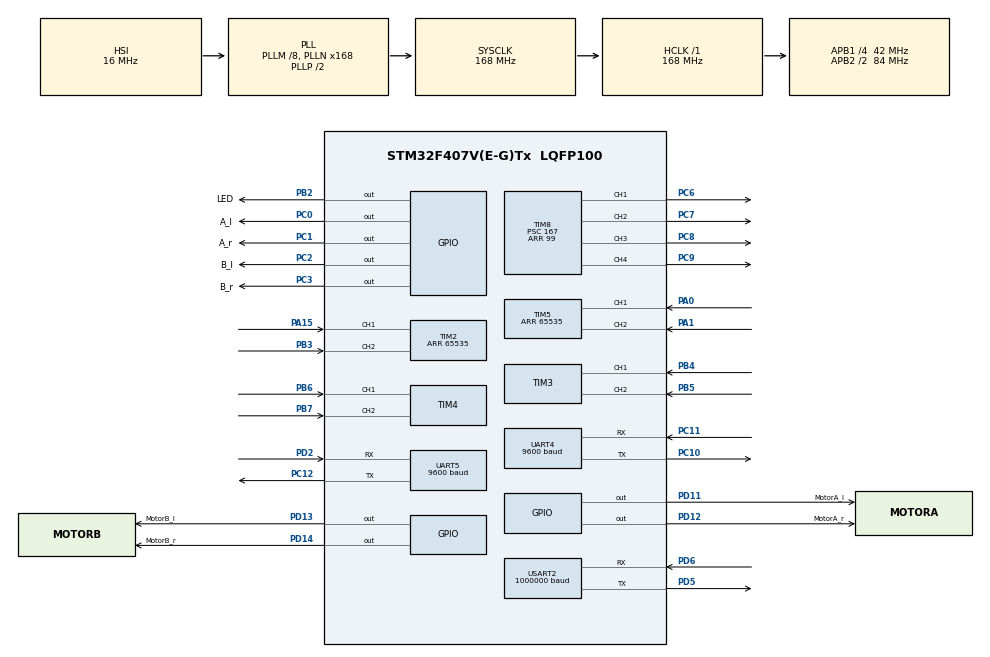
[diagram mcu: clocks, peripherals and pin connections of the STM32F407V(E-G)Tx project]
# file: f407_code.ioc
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Mcu.Family=STM32F4
Mcu.Name=STM32F407V(E-G)Tx
Mcu.Package=LQFP100
NVIC.PriorityGroup=NVIC_PRIORITYGROUP_4
NVIC.TIM7_IRQn=true\:0\:0\:false\:false\:true\:true\:true\:true
NVIC.UART4_IRQn=true\:0\:0\:false\:false\:true\:true\:true\:true
NVIC.UART5_IRQn=true\:0\:0\:false\:false\:true\:true\:true\:true
PA0-WKUP.Signal=S_TIM5_CH1
PA1.Signal=S_TIM5_CH2
PA13.Mode=Serial_Wire
PA13.Signal=SYS_JTMS-SWDIO
PA14.Mode=Serial_Wire
PA14.Signal=SYS_JTCK-SWCLK
PA15.Signal=S_TIM2_CH1_ETR
PB2.GPIO_Label=LED
PB2.Signal=GPIO_Output
PB3.Signal=S_TIM2_CH2
PB4.Signal=S_TIM3_CH1
PB5.Signal=S_TIM3_CH2
PB6.Signal=S_TIM4_CH1
PB7.Signal=S_TIM4_CH2
PC0.GPIO_Label=A_l
PC0.Signal=GPIO_Output
PC1.GPIO_Label=A_r
PC1.Signal=GPIO_Output
PC10.Mode=Asynchronous
PC10.Signal=UART4_TX
PC11.Mode=Asynchronous
PC11.Signal=UART4_RX
PC12.Mode=Asynchronous
PC12.Signal=UART5_TX
PC14-OSC32_IN.Mode=LSE-External-Oscillator
PC14-OSC32_IN.Signal=RCC_OSC32_IN
PC15-OSC32_OUT.Mode=LSE-External-Oscillator
PC15-OSC32_OUT.Signal=RCC_OSC32_OUT
PC2.GPIO_Label=B_l
PC2.Signal=GPIO_Output
PC3.GPIO_Label=B_r
PC3.Signal=GPIO_Output
PC6.Signal=S_TIM8_CH1
PC7.Signal=S_TIM8_CH2
PC8.Signal=S_TIM8_CH3
PC9.Signal=S_TIM8_CH4
PD11.GPIO_Label=MotorA_l
PD11.Signal=GPIO_Output
PD12.GPIO_Label=MotorA_r
PD12.Signal=GPIO_Output
PD13.GPIO_Label=MotorB_l
PD13.Signal=GPIO_Output
PD14.GPIO_Label=MotorB_r
PD14.Signal=GPIO_Output
PD2.Mode=Asynchronous
PD2.Signal=UART5_RX
PD5.Mode=Asynchronous
PD5.Signal=USART2_TX
PD6.Mode=Asynchronous
PD6.Signal=USART2_RX
PH0-OSC_IN.Mode=HSE-External-Oscillator
PH0-OSC_IN.Signal=RCC_OSC_IN
PH1-OSC_OUT.Mode=HSE-External-Oscillator
PH1-OSC_OUT.Signal=RCC_OSC_OUT
ProjectManager.HeapSize=0x200
ProjectManager.StackSize=0x400
ProjectManager.TargetToolchain=MDK-ARM V5.32
RCC.48MHZClocksFreq_Value=84000000
RCC.AHBFreq_Value=168000000
RCC.APB1CLKDivider=RCC_HCLK_DIV4
RCC.APB1Freq_Value=42000000
RCC.APB1TimFreq_Value=84000000
RCC.APB2CLKDivider=RCC_HCLK_DIV2
RCC.APB2Freq_Value=84000000
RCC.APB2TimFreq_Value=168000000
RCC.CortexFreq_Value=168000000
RCC.HCLKFreq_Value=168000000
RCC.HSE_VALUE=25000000
RCC.HSI_VALUE=16000000
RCC.PLLM=8
RCC.PLLN=168
RCC.SYSCLKFreq_VALUE=168000000
RCC.SYSCLKSource=RCC_SYSCLKSOURCE_PLLCLK
RCC.VCOOutputFreq_Value=336000000
SH.S_TIM2_CH1_ETR.0=TIM2_CH1,Encoder_Interface
SH.S_TIM2_CH2.0=TIM2_CH2,Encoder_Interface
SH.S_TIM3_CH1.0=TIM3_CH1,Encoder_Interface
SH.S_TIM3_CH2.0=TIM3_CH2,Encoder_Interface
SH.S_TIM4_CH1.0=TIM4_CH1,Encoder_Interface
SH.S_TIM4_CH2.0=TIM4_CH2,Encoder_Interface
SH.S_TIM5_CH1.0=TIM5_CH1,Encoder_Interface
SH.S_TIM5_CH2.0=TIM5_CH2,Encoder_Interface
SH.S_TIM8_CH1.0=TIM8_CH1,PWM Generation1 CH1
SH.S_TIM8_CH2.0=TIM8_CH2,PWM Generation2 CH2
SH.S_TIM8_CH3.0=TIM8_CH3,PWM Generation3 CH3
SH.S_TIM8_CH4.0=TIM8_CH4,PWM Generation4 CH4
TIM2.AutoReloadPreload=TIM_AUTORELOAD_PRELOAD_ENABLE
TIM2.EncoderMode=TIM_ENCODERMODE_TI12
TIM2.IC1Filter=10
TIM2.IC2Filter=10
TIM2.Period=65535
TIM3.AutoReloadPreload=TIM_AUTORELOAD_PRELOAD_ENABLE
TIM3.EncoderMode=TIM_ENCODERMODE_TI12
TIM3.IC1Filter=10
TIM3.IC2Filter=10
TIM4.AutoReloadPreload=TIM_AUTORELOAD_PRELOAD_ENABLE
TIM4.EncoderMode=TIM_ENCODERMODE_TI12
TIM4.IC1Filter=10
TIM4.IC2Filter=10
TIM5.AutoReloadPreload=TIM_AUTORELOAD_PRELOAD_ENABLE
TIM5.EncoderMode=TIM_ENCODERMODE_TI12
TIM5.IC1Filter=10
TIM5.IC2Filter=10
TIM5.Period=65535
TIM7.Period=9999
TIM7.Prescaler=1679
TIM8.AutoReloadPreload=TIM_AUTORELOAD_PRELOAD_ENABLE
TIM8.Channel-PWM\ Generation1\ CH1=TIM_CHANNEL_1
TIM8.Channel-PWM\ Generation2\ CH2=TIM_CHANNEL_2
TIM8.Channel-PWM\ Generation3\ CH3=TIM_CHANNEL_3
TIM8.Channel-PWM\ Generation4\ CH4=TIM_CHANNEL_4
TIM8.OCPolarity_1=TIM_OCPOLARITY_LOW
TIM8.OCPolarity_2=TIM_OCPOLARITY_LOW
TIM8.OCPolarity_3=TIM_OCPOLARITY_LOW
TIM8.OCPolarity_4=TIM_OCPOLARITY_LOW
TIM8.Period=99
TIM8.Prescaler=167
UART4.BaudRate=9600
UART4.VirtualMode=Asynchronous
UART5.BaudRate=9600
UART5.VirtualMode=Asynchronous
USART2.BaudRate=1000000
USART2.VirtualMode=VM_ASYNC
VP_TIM7_VS_ClockSourceINT.Mode=Enable_Timer
board=custom

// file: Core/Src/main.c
/* USER CODE BEGIN Header */
/**
  ******************************************************************************
  * @file           : main.c
  * @brief          : Main program body
  ******************************************************************************
  * @attention
  *
  * Copyright (c) 2025 STMicroelectronics.
  * All rights reserved.
  *
  * This software is licensed under terms that can be found in the LICENSE file
  * in the root directory of this software component.
  * If no LICENSE file comes with this software, it is provided AS-IS.
  *
  ******************************************************************************
  */
/* USER CODE END Header */
#include "main.h"
#include "tim.h"
#include "usart.h"
#include "gpio.h"

/* USER CODE BEGIN Includes */
#include <stdio.h>  // 用于 sprintf 函数
#include <string.h> // 用于 strlen 函数
#include <../../SCSLib/SCServo.h>
/* USER CODE END Includes */

/* USER CODE BEGIN PM */
//FT舵机串口指令发送函数
void ftUart_Send(uint8_t *nDat , int nLen)
{
	HAL_UART_Transmit(&huart2, nDat, nLen, 100);
}

//FT舵机串口指令应答接收函数
int ftUart_Read(uint8_t *nDat, int nLen)
{
	if(HAL_OK!=HAL_UART_Receive(&huart2, nDat, nLen, 100)){
		return 0;
	}else{
		return nLen;
	}
}

//FT舵机总线切换延时，时间大于10us
void ftBus_Delay(void)
{
	HAL_Delay(1);
}
void setup(void)
{
	setEnd(1);//SCSCL舵机为大端存储结构
}
void ServoInit(uint8_t ID)
{
    // 解锁EPROM
    unLockEpromEx(ID);

    // 设置位置模式
    WheelMode(ID);

    // 校准零位
    CalibrationOfs(ID);

    // 锁定EPROM
    LockEpromEx(ID);
}
//所有总线舵机初始化，目前测试出来舵机中值是510，3的话是630,2的话310
uint8_t servo_flag=0; //为什么加这个flag主要是用来初始化舵机的
uint16_t leg1_all_duty=0; //ID，1,4,7,10的duty值
uint16_t leg1_left_duty=0; //ID，1,4的duty值
uint16_t leg1_right_duty=0; //ID，7,10的duty值
uint16_t leg2_all_duty=0; //ID，2,5,8,11的duty值
uint16_t leg2_left_duty=0; //ID，2,5的duty值
uint16_t leg2_right_duty=0; //ID，8,11的duty值
uint16_t leg3_all_duty=0; //ID，3,6,9,12的duty值
uint16_t leg3_left_duty=0; //ID，3,6的duty值
uint16_t leg3_right_duty=0; //ID，9,12的duty值
void servo_all_init(void)
{
	ServoInit(1);
	ServoInit(2);
	ServoInit(3);
	ServoInit(4);
	ServoInit(5);
	ServoInit(6);
	ServoInit(7);
	ServoInit(8);
	ServoInit(9);
	ServoInit(10);
	ServoInit(11);
	ServoInit(12);
	setup();
}
//主要是用来初始化角度的,初始化一个初始角度也可以是当成初始化的角度
void servo_angle_init(void)
{
	WritePos(1, 450, 0, 1500); //对ID是2的舵机进行一个初始化
	WritePos(2, 260, 0, 1500); //对ID是2的舵机进行一个初始化
	WritePos(3, 665, 0, 1500); //对ID是3的舵机进行一个初始化
	WritePos(4, 540, 0, 1500); //对ID是3的舵机进行一个初始化
	WritePos(5, 750, 0, 1500); //对ID是5的舵机进行一个初始化
	WritePos(6, 370, 0, 1500); //对ID是6的舵机进行一个初始化
	WritePos(7, 540, 0, 1500); //对ID是6的舵机进行一个初始化
	WritePos(8, 250, 0, 1500); //对ID是8的舵机进行一个初始化
	WritePos(9, 645, 0, 1500); //对ID是9的舵机进行一个初始化
	WritePos(10, 480, 0, 1500); //对ID是9的舵机进行一个初始化
	WritePos(11, 770, 0, 1500); //对ID是11的舵机进行一个初始化
	WritePos(12, 400, 0, 1500); //对ID是12的舵机进行一个初始化
	HAL_Delay(250);
}
void servo_angle_curve(void)
{
	WritePos(3, 765, 0, 1500); //对ID是3的舵机进行一个弯曲
	WritePos(6, 270, 0, 1500); //对ID是6的舵机进行一个弯曲
	WritePos(9, 745, 0, 1500); //对ID是9的舵机进行一个弯曲
	WritePos(12, 300, 0, 1500); //对ID是12的舵机进行一个弯曲
	HAL_Delay(200);
}
//对ID1,4,7,10同步控制
void leg1_all(uint16_t duty)
{
	WritePos(1, duty, 0, 1500); //对ID是2的舵机进行一个弯曲
	WritePos(4, duty, 0, 1500); //对ID是3的舵机进行一个弯曲
	WritePos(7, duty, 0, 1500); //对ID是5的舵机进行一个弯曲
	WritePos(10,duty, 0, 1500); //对ID是6的舵机进行一个弯曲
}
//对ID1,4同步控制
void leg1_left(uint16_t duty)
{
	WritePos(1, duty, 0, 1500); //对ID是2的舵机进行一个弯曲
	WritePos(4, duty, 0, 1500); //对ID是3的舵机进行一个弯曲
}
//对ID7,10同步控制
void leg1_right(uint16_t duty)
{
	WritePos(7, duty, 0, 1500); //对ID是2的舵机进行一个弯曲
	WritePos(10, duty, 0, 1500); //对ID是3的舵机进行一个弯曲
}
//对ID2,5,8,11同步控制
void leg2_all(uint16_t duty)
{
	WritePos(2, duty, 0, 1500); //对ID是2的舵机进行一个弯曲
	WritePos(5, duty, 0, 1500); //对ID是3的舵机进行一个弯曲
	WritePos(8, duty, 0, 1500); //对ID是5的舵机进行一个弯曲
	WritePos(11, duty, 0, 1500); //对ID是6的舵机进行一个弯曲
}
//对ID2,5同步控制
void leg2_left(uint16_t duty)
{
	WritePos(2, duty, 0, 1500); //对ID是2的舵机进行一个弯曲
	WritePos(5, duty, 0, 1500); //对ID是3的舵机进行一个弯曲
}
//对ID8,11同步控制
void leg2_right(uint16_t duty)
{
	WritePos(8, duty, 0, 1500); //对ID是2的舵机进行一个弯曲
	WritePos(11, duty, 0, 1500); //对ID是3的舵机进行一个弯曲
}
//对ID3,6,9,12同步控制
void leg3_all(uint16_t duty)
{
	WritePos(3, duty, 0, 1500); //对ID是2的舵机进行一个弯曲
	WritePos(6, duty, 0, 1500); //对ID是3的舵机进行一个弯曲
	WritePos(9, duty, 0, 1500); //对ID是5的舵机进行一个弯曲
	WritePos(12, duty, 0, 1500); //对ID是6的舵机进行一个弯曲
}
//对ID3,6同步控制
void leg3_left(uint16_t duty)
{
	WritePos(3, duty, 0, 1500); //对ID是2的舵机进行一个弯曲
	WritePos(6, duty, 0, 1500); //对ID是3的舵机进行一个弯曲
}
//对ID9,12同步控制
void leg3_right(uint16_t duty)
{
	WritePos(9, duty, 0, 1500); //对ID是2的舵机进行一个弯曲
	WritePos(12, duty, 0, 1500); //对ID是3的舵机进行一个弯曲
}
//电机方向引脚初始化
void motor_init(void)
{
	  //左前轮
		HAL_GPIO_WritePin(GPIOD,MotorA_l_Pin, GPIO_PIN_SET);
		HAL_GPIO_WritePin(GPIOC,A_l_Pin, GPIO_PIN_RESET);
	  //右前轮
		HAL_GPIO_WritePin(GPIOD,MotorA_r_Pin, GPIO_PIN_SET);
		HAL_GPIO_WritePin(GPIOC,A_r_Pin, GPIO_PIN_RESET);
//		//左后轮
//		HAL_GPIO_WritePin(GPIOD,MotorB_l_Pin, GPIO_PIN_SET);
//		HAL_GPIO_WritePin(GPIOC,B_l_Pin, GPIO_PIN_RESET);
//	  //右后轮
//		HAL_GPIO_WritePin(GPIOD,MotorB_r_Pin, GPIO_PIN_SET);
//		HAL_GPIO_WritePin(GPIOC,B_r_Pin, GPIO_PIN_RESET);
}
//电机pwm设置
void motorA_ld(int16_t duty)
{
		//左前轮
		__HAL_TIM_SET_COMPARE(&htim8,TIM_CHANNEL_1,duty);
}
void motorA_rd(int16_t duty)
{
		//右前轮
		__HAL_TIM_SET_COMPARE(&htim8,TIM_CHANNEL_2,duty);
}
void motorB_ld(int16_t duty)
{
		//左后轮
		__HAL_TIM_SET_COMPARE(&htim8,TIM_CHANNEL_4,duty);
}
void motorB_rd(int16_t duty)
{
		//右后轮
		__HAL_TIM_SET_COMPARE(&htim8,TIM_CHANNEL_3,duty);
}
//电机的正反转设置
void motorA_lt(void)
{
		//左前轮
		HAL_GPIO_WritePin(GPIOD,MotorA_l_Pin, GPIO_PIN_RESET);
		HAL_GPIO_WritePin(GPIOC,A_l_Pin, GPIO_PIN_SET);
}
void motorA_rt(void)
{
		//右前轮
		HAL_GPIO_WritePin(GPIOD,MotorA_r_Pin, GPIO_PIN_SET);
		HAL_GPIO_WritePin(GPIOC,A_r_Pin, GPIO_PIN_SET);
}
//
void motorB_lt(void)
{
		//右后轮
		HAL_GPIO_WritePin(GPIOD,MotorB_r_Pin, GPIO_PIN_RESET);
		HAL_GPIO_WritePin(GPIOC,B_r_Pin, GPIO_PIN_SET);
}
//
void motorB_rt(void)
{
		//左后轮
		HAL_GPIO_WritePin(GPIOD,MotorB_l_Pin, GPIO_PIN_SET);
		HAL_GPIO_WritePin(GPIOC,B_l_Pin, GPIO_PIN_SET);
}
void motorA_lf(void)
{
		//左前轮
		HAL_GPIO_WritePin(GPIOD,MotorA_l_Pin, GPIO_PIN_SET);
		HAL_GPIO_WritePin(GPIOC,A_l_Pin, GPIO_PIN_SET);
}
void motorA_rf(void)
{
		//右前轮
		HAL_GPIO_WritePin(GPIOD,MotorA_r_Pin, GPIO_PIN_RESET);
		HAL_GPIO_WritePin(GPIOC,A_r_Pin, GPIO_PIN_SET);
}
//
void motorB_lf(void)
{
		//右后轮
		HAL_GPIO_WritePin(GPIOD,MotorB_r_Pin, GPIO_PIN_SET);
		HAL_GPIO_WritePin(GPIOC,B_r_Pin, GPIO_PIN_SET);
}
//
void motorB_rf(void)
{
		//左后轮
		HAL_GPIO_WritePin(GPIOD,MotorB_l_Pin, GPIO_PIN_RESET);
		HAL_GPIO_WritePin(GPIOC,B_l_Pin, GPIO_PIN_SET);
}
//编码器的读取
int8_t A_ls=0;
int8_t A_rs=0;
int8_t B_ls=0;
int8_t B_rs=0;
int8_t A_lmc=0;
int8_t A_rmc=0;
int8_t B_lmc=0;
int8_t B_rmc=0;
int8_t motorA_le(void)
{
	int8_t count=0;
	count=__HAL_TIM_GET_COUNTER(&htim2);
	__HAL_TIM_SET_COUNTER(&htim2, 0);
	return count;
}
int8_t motorA_re(void)
{
	int8_t count=0;
	count=__HAL_TIM_GET_COUNTER(&htim3);
	__HAL_TIM_SET_COUNTER(&htim3, 0);
	return count;
}
int8_t motorB_le(void)
{
	int8_t count=0;
	count=__HAL_TIM_GET_COUNTER(&htim4);
	__HAL_TIM_SET_COUNTER(&htim4, 0);
	return count;
}
int8_t motorB_re(void)
{
	int8_t count=0;
	count=__HAL_TIM_GET_COUNTER(&htim5);
	__HAL_TIM_SET_COUNTER(&htim5, 0);
	return count;
}
//四个电机的PID
int A_l_this_error=0;
int A_l_last_error=0;
int A_l_increase=0;
int A_l_out=0;
int A_l_duty=0;
void motorA_lp(int8_t target,int8_t now)
{
	float kp=0;
	float ki=0;
//	if(A_ls == 0)
//	{
//		kp=120;
//		ki=96;
//	}
//	else
//	{
		kp=48; //96
		ki=36; //72
//	}
	A_l_this_error=target-now;
	A_l_increase=kp*(A_l_this_error-A_l_last_error)+ki*A_l_this_error;
	A_l_last_error=A_l_this_error;
	A_l_out+=A_l_increase;
	A_l_duty=A_l_out/100;
	if(A_l_duty >= 99) A_l_duty=99;
	if(A_l_duty <= -99) A_l_duty=-99;
	if(A_l_duty >= 0)
	{
		motorA_lt();
		motorA_ld(A_l_duty);
	}
	else
	{
		motorA_lf();
		motorA_ld(-A_l_duty);
	}
}
int A_r_this_error=0;
int A_r_last_error=0;
int A_r_increase=0;
int A_r_out=0;
int A_r_duty=0;
void motorA_rp(int8_t target,int8_t now)
{
	float kp=0;
	float ki=0;
//	if(A_ls == 0)
//	{
//		kp=120;
//		ki=96;
//	}
//	else
//	{
		kp=48;
		ki=36;
//	}
	A_r_this_error=target-now;
	A_r_increase=kp*(A_r_this_error-A_r_last_error)+ki*A_r_this_error;
	A_r_last_error=A_r_this_error;
	A_r_out+=A_r_increase;
	A_r_duty=A_r_out/100;
	if(A_r_duty >= 99) A_r_duty=99;
	if(A_r_duty <= -99) A_r_duty=-99;
	if(A_r_duty >= 0)
	{
		motorA_rt();
		motorA_rd(A_r_duty);
	}
	else
	{
		motorA_rf();
		motorA_rd(-A_r_duty);
	}
}
int B_l_this_error=0;
int B_l_last_error=0;
int B_l_increase=0;
int B_l_out=0;
int B_l_duty=0;
void motorB_lp(int8_t target,int8_t now)
{
	float kp=0;
	float ki=0;
//	if(A_ls == 0)
//	{
//		kp=120;
//		ki=96;
//	}
//	else
//	{
		kp=30;
		ki=25;
//	}
	B_l_this_error=target-now;
	B_l_increase=kp*(B_l_this_error-B_l_last_error)+ki*B_l_this_error;
	B_l_last_error=B_l_this_error;
	B_l_out+=B_l_increase;
	B_l_duty=B_l_out/100;
	if(B_l_duty >= 99) B_l_duty=99;
	if(B_l_duty <= -99) B_l_duty=-99;
	if(B_l_duty >= 0)
	{
		motorB_lt();
		motorB_ld(B_l_duty);
	}
	else
	{
		motorB_lf();
		motorB_ld(-B_l_duty);
	}
}
int B_r_this_error=0;
int B_r_last_error=0;
int B_r_increase=0;
int B_r_out=0;
int B_r_duty=0;
void motorB_rp(int8_t target,int8_t now)
{
	float kp=0;
	float ki=0;
//	if(A_ls == 0)
//	{
//		kp=120;
//		ki=96;
//	}
//	else
//	{
		kp=30;
		ki=25;
//	}
	B_r_this_error=target-now;
	B_r_increase=kp*(B_r_this_error-B_r_last_error)+ki*B_r_this_error;
	B_r_last_error=B_r_this_error;
	B_r_out+=B_r_increase;
	B_r_duty=B_r_out/100;
	if(B_r_duty >= 99) B_r_duty=99;
	if(B_r_duty <= -99) B_r_duty=-99;
	if(B_r_duty >= 0)
	{
		motorB_rt();
		motorB_rd(B_r_duty);
	}
	else
	{
		motorB_rf();
		motorB_rd(-B_r_duty);
	}
}
//这边主要是负责蓝牙的，1对应的是49,0对应的是48
uint8_t buletooth_mode_flag=0;
uint8_t buletooth_duty_flag=0;
uint8_t buletooth_ID_flag=0;
uint8_t buletooth_tx=0; //作为发送信息的
uint8_t buletooth_rx=0; //作为接收信息的
uint8_t buletooth_flag=0; //作为发送信息的
uint8_t buletooth_count=0; //作为接收信息的
uint8_t buletooth_leg_count=0; //作为接收信息的
//前进是0，后退是1，左转是2，右转是3，停止是4
//模式切换的是5，模式开启按键是6，腿升高7，腿降低8
//总共需要9个按键
void happy_mode(void)
{
	WritePos(3, 565, 0, 500); //对ID是2的舵机进行一个弯曲
	WritePos(6, 470, 0, 500); //对ID是3的舵机进行一个弯曲
	WritePos(9, 545, 0, 500); //对ID是5的舵机进行一个弯曲
	WritePos(12, 500, 0, 500); //对ID是6的舵机进行一个弯曲
	HAL_Delay(300);
	WritePos(3, 765, 0, 500); //对ID是2的舵机进行一个弯曲
	WritePos(6, 270, 0, 500); //对ID是3的舵机进行一个弯曲
	WritePos(9, 745, 0, 500); //对ID是5的舵机进行一个弯曲
	WritePos(12, 300, 0, 500); //对ID是6的舵机进行一个弯曲
	HAL_Delay(500);
}
void bluetooth_ct(void)
{
	if(buletooth_rx == 106)
	{
		buletooth_rx=0;
	}
	//首先这边需要包含一个简单的对狗的控制，主要包括前进，左转，右转，停止以及后退，左右转目前的思路是一个原地打转，转到合适的角度然后进行转弯（这里需要五个按键）
	//前进
	if(buletooth_rx == 48)
	{
		A_ls=5;
		A_rs=5;
		B_ls=-5;
//		B_rs=2;
		buletooth_rx=0;
	}
	//后退
	if(buletooth_rx == 49)
	{
		A_ls=-5;
		A_rs=-5;
		B_ls=-5;
//		B_rs=-2;
		buletooth_rx=0;
	}
	//左转
	if(buletooth_rx == 50)
	{
		A_ls=-10;
		A_rs=15;
		B_ls=10;
//		B_rs=2;
		buletooth_rx=0;
	}
	//右转
	if(buletooth_rx == 51)
	{
		A_ls=15;
		A_rs=-10;
		B_ls=-15;
//		B_rs=-2;
		buletooth_rx=0;
	}
	//停止
	if(buletooth_rx == 52)
	{
		A_ls=0;
		A_rs=0;
		B_ls=0;
//		B_rs=0;
		buletooth_rx=0;
	}
	//接着就是一个模式选择（这里需要一个按键，娱乐模式（主要是包含上蹦下跳）和救援模式）
	//模式选择
	if(buletooth_rx == 53)
	{
		buletooth_count+=1;
		if(buletooth_count > 2) buletooth_count=0;
		//需要人为清零一下
		HAL_UART_Transmit_IT(&huart4, &buletooth_count, sizeof(buletooth_count));
//		HAL_UART_Transmit(&huart1, &buletooth_count, sizeof(buletooth_count), HAL_MAX_DELAY);
		buletooth_rx=0;
	}
	//娱乐模式的时候就加入一个按键，开启娱乐和关闭娱乐，就用同一个按键（这个按键和下面的选择共用）
	if(buletooth_rx == 54)
	{
		//娱乐模式开启
		if(buletooth_rx == 54 && buletooth_count == 1 && buletooth_flag ==0)
		{
			buletooth_flag=1;
			buletooth_rx=0;
//			HAL_UART_Transmit(&huart1, &buletooth_flag, sizeof(buletooth_flag), HAL_MAX_DELAY);
		}
		//娱乐模式关闭
		if(buletooth_rx == 54 && buletooth_count == 1 && buletooth_flag ==1)
		{
			buletooth_flag=0;
			buletooth_rx=0;
//			HAL_UART_Transmit(&huart1, &buletooth_flag, sizeof(buletooth_flag), HAL_MAX_DELAY);
		}
		//救援模式
		if(buletooth_rx == 54 && buletooth_count == 2)
		{
			buletooth_leg_count+=1;
			if(buletooth_leg_count > 3) buletooth_leg_count=0;
			HAL_UART_Transmit(&huart4, &buletooth_leg_count, sizeof(buletooth_leg_count), HAL_MAX_DELAY);
			buletooth_rx=0;
		}
	}
	//升高
	if(buletooth_rx == 55)
	{
		//左边
		if(buletooth_rx == 55 && buletooth_leg_count == 1)
		{
			leg3_left_duty-=50;
			WritePos(3, 665+leg3_left_duty, 0, 1500); //对ID是2的舵机进行一个弯曲
			WritePos(12, 400-leg3_left_duty, 0, 1500); //对ID是6的舵机进行一个弯曲
			HAL_Delay(200);
			buletooth_rx=0;
		}
		//右边
		if(buletooth_rx == 55 && buletooth_leg_count == 2)
		{
			leg3_right_duty-=50;
			WritePos(6, 370-leg3_right_duty, 0, 1500); //对ID是3的舵机进行一个弯曲
			WritePos(9, 645+leg3_right_duty, 0, 1500); //对ID是5的舵机进行一个弯曲
			HAL_Delay(200);
			buletooth_rx=0;
		}
		//全部
		if(buletooth_rx == 55 && buletooth_leg_count == 3)
		{
			leg3_all_duty-=50;
			WritePos(3, 665+leg3_all_duty, 0, 1500); //对ID是2的舵机进行一个弯曲
			WritePos(6, 370-leg3_all_duty, 0, 1500); //对ID是3的舵机进行一个弯曲
			WritePos(9, 645+leg3_all_duty, 0, 1500); //对ID是5的舵机进行一个弯曲
			WritePos(12, 400-leg3_all_duty, 0, 1500); //对ID是6的舵机进行一个弯曲
			HAL_Delay(200);
			buletooth_rx=0;
		}
	}
	//降低
	if(buletooth_rx == 56)
	{
		//左边
		if(buletooth_rx == 56 && buletooth_leg_count == 1)
		{
			leg3_left_duty+=50;
			WritePos(3, 665+leg3_left_duty, 0, 1500); //对ID是2的舵机进行一个弯曲
			WritePos(12, 400-leg3_left_duty, 0, 1500); //对ID是6的舵机进行一个弯曲
			HAL_Delay(200);
			buletooth_rx=0;
		}
		//右边
		if(buletooth_rx == 56 && buletooth_leg_count == 2)
		{
			leg3_right_duty+=50;
			WritePos(6, 370-leg3_right_duty, 0, 1500); //对ID是3的舵机进行一个弯曲
			WritePos(9, 645+leg3_right_duty, 0, 1500); //对ID是5的舵机进行一个弯曲
			HAL_Delay(200);
			buletooth_rx=0;
		}
		//全部
		if(buletooth_rx == 56 && buletooth_leg_count == 3)
		{
			leg3_all_duty+=50;
			WritePos(3, 665+leg3_all_duty, 0, 1500); //对ID是2的舵机进行一个弯曲
			WritePos(6, 370-leg3_all_duty, 0, 1500); //对ID是3的舵机进行一个弯曲
			WritePos(9, 645+leg3_all_duty, 0, 1500); //对ID是5的舵机进行一个弯曲
			WritePos(12, 400-leg3_all_duty, 0, 1500); //对ID是6的舵机进行一个弯曲
			HAL_Delay(200);
			buletooth_rx=0;
		}
	}
	if(buletooth_flag == 1) happy_mode();
		else if(buletooth_flag == 0 && buletooth_count == 1)
		{
			servo_angle_init();
			HAL_Delay(250);
		}
	//救援模式对每两条腿的选择，第一次左边，第二次右边，第三次全部，两个按键来升高或者下降

	//下面这里主要是涉及发送数据，包括呼救的在手机显示，以及ID的显示。
}
//这边主要是负责语音模块的，语音这边接收到的数据和那边发过来是一样的
uint8_t voice_tx=0; //作为发送信息的
uint8_t voice_rx=0; //作为接收信息的
uint8_t voice_flag=0; //作为语音这边的标志位
uint8_t voice_count=0; //作为语音这边时间的计数，当时间超过多少时，对接收数据定时清零
void voice_ct(void)
{
		//当有人呼救时，就收到对应的数据，然后通过蓝牙发出去,1表示有人进行呼救的
		if(voice_rx == 1)
		{
			voice_flag=1;
			HAL_UART_Transmit(&huart4, &voice_flag, sizeof(voice_flag), HAL_MAX_DELAY);
			voice_rx=0;
		}
		//2表示叫机器狗趴下
		if(voice_rx == 2)
		{
			servo_angle_curve();
			voice_rx=0;
		}
		//3表示叫机器狗站立
		if(voice_rx == 3)
		{
			servo_angle_init();
			voice_rx=0;
		}
		else
		{
//			HAL_GPIO_WritePin(LED1_GPIO_Port, LED1_Pin, GPIO_PIN_SET);
		}

}

/* USER CODE END PM */

/* USER CODE BEGIN PV */
int8_t count=0;
// 定义缓冲区存储转换后的字符串
char uart_buf[64]; // 根据数据长度调整大小
//这里注意下，使用串口四作为蓝牙的串口，串口五作为语音模块的
//同时也注意一下优先级问题，蓝牙模块的优先级最高，其次是中断时钟7，最后就是语音模块的，总线舵机只要发送数据，不涉及中断接收，忽略
/* USER CODE END PV */

void SystemClock_Config(void);

int main(void)
{

  /* MCU Configuration--------------------------------------------------------*/

  /* Reset of all peripherals, Initializes the Flash interface and the Systick. */
  HAL_Init();

  /* Configure the system clock */
  SystemClock_Config();

  /* Initialize all configured peripherals */
  MX_GPIO_Init();
  MX_TIM2_Init();
  MX_TIM3_Init();
  MX_TIM4_Init();
  MX_TIM5_Init();
  MX_USART2_UART_Init();
  MX_TIM7_Init();
  MX_UART4_Init();
  MX_UART5_Init();
  MX_TIM8_Init();
  /* USER CODE BEGIN 2 */
	//串口中断接收配置
	HAL_UART_Receive_IT(&huart4, &buletooth_rx, 1); //这个用来蓝牙串口中断接收的
	HAL_UART_Receive_IT(&huart5, &voice_rx, 1); //这个用来蓝牙串口中断接收的
	//编码器部分初始化，现在换一个思路，换成两电机进行控制
	HAL_TIM_Encoder_Start(&htim2,TIM_CHANNEL_1);
	HAL_TIM_Encoder_Start(&htim2,TIM_CHANNEL_2);
	HAL_TIM_Encoder_Start(&htim3,TIM_CHANNEL_1);
	HAL_TIM_Encoder_Start(&htim3,TIM_CHANNEL_2);
	HAL_TIM_Encoder_Start(&htim4,TIM_CHANNEL_1);
	HAL_TIM_Encoder_Start(&htim4,TIM_CHANNEL_2);
	HAL_TIM_Encoder_Start(&htim5,TIM_CHANNEL_1);
	HAL_TIM_Encoder_Start(&htim5,TIM_CHANNEL_2);
	//电机部分初始化,现在换一个思路，换成两电机进行控制
	HAL_TIM_PWM_Start(&htim8,TIM_CHANNEL_1);
	HAL_TIM_PWM_Start(&htim8,TIM_CHANNEL_2);
	HAL_TIM_PWM_Start(&htim8,TIM_CHANNEL_3);
	HAL_TIM_PWM_Start(&htim8,TIM_CHANNEL_4);
	//电机转向初始化
	motor_init();
	//舵机初始化部分
	servo_all_init();
	setup();
//	WritePos(2, 510, 0, 1500); //对ID是2的舵机进行一个初始化
	//时钟初始化部分
	HAL_TIM_Base_Start_IT(&htim7);
  /* USER CODE END 2 */

  /* Infinite loop */
  /* USER CODE BEGIN WHILE */
  while (1)
  {
			//灯测试
//		HAL_GPIO_WritePin(LED_GPIO_Port, LED_Pin, GPIO_PIN_RESET);
//		HAL_Delay(500);
//		HAL_GPIO_WritePin(LED_GPIO_Port, LED_Pin, GPIO_PIN_SET);
//		HAL_Delay(500);
		if(servo_flag == 0)
		{
			servo_angle_init();
			servo_flag=1;
		}
//		motorA_lt();
//		motorA_ld(30);
//		motorA_rt();
//		motorA_rd(10);
//		motorB_lf();
//		motorB_ld(30);
//		motorB_rt();
//		motorB_rd(10);
		//打印出来，上面的是四个编码器的，下面的是一个的
//		sprintf(uart_buf, "E1:%d,E2:%d,E3:%d,E4:%d\n", A_lmc, A_rmc, B_lmc, B_rmc);
		bluetooth_ct();
		voice_ct();
//		//蓝牙和语音模块的
//		sprintf(uart_buf, "b:%d,v:%d", A_lmc, A_rmc);
//		//编码器的
//		sprintf(uart_buf, "E1:%d,E2:%d", A_lmc, A_rmc);
//    //先用串口2来发送
//    HAL_UART_Transmit(&huart4, (uint8_t*)uart_buf, sizeof(uart_buf), HAL_MAX_DELAY);
//		HAL_Delay(200);
    /* USER CODE END WHILE */

  }
}

void SystemClock_Config(void)
{
  RCC_OscInitTypeDef RCC_OscInitStruct = {0};
  RCC_ClkInitTypeDef RCC_ClkInitStruct = {0};

  /** Configure the main internal regulator output voltage
  */
  __HAL_RCC_PWR_CLK_ENABLE();
  __HAL_PWR_VOLTAGESCALING_CONFIG(PWR_REGULATOR_VOLTAGE_SCALE1);

  /** Initializes the RCC Oscillators according to the specified parameters
  * in the RCC_OscInitTypeDef structure.
  */
  RCC_OscInitStruct.OscillatorType = RCC_OSCILLATORTYPE_HSI;
  RCC_OscInitStruct.HSIState = RCC_HSI_ON;
  RCC_OscInitStruct.HSICalibrationValue = RCC_HSICALIBRATION_DEFAULT;
  RCC_OscInitStruct.PLL.PLLState = RCC_PLL_ON;
  RCC_OscInitStruct.PLL.PLLSource = RCC_PLLSOURCE_HSI;
  RCC_OscInitStruct.PLL.PLLM = 8;
  RCC_OscInitStruct.PLL.PLLN = 168;
  RCC_OscInitStruct.PLL.PLLP = RCC_PLLP_DIV2;
  RCC_OscInitStruct.PLL.PLLQ = 4;
  if (HAL_RCC_OscConfig(&RCC_OscInitStruct) != HAL_OK)
  {
    Error_Handler();
  }

  /** Initializes the CPU, AHB and APB buses clocks
  */
  RCC_ClkInitStruct.ClockType = RCC_CLOCKTYPE_HCLK|RCC_CLOCKTYPE_SYSCLK
                              |RCC_CLOCKTYPE_PCLK1|RCC_CLOCKTYPE_PCLK2;
  RCC_ClkInitStruct.SYSCLKSource = RCC_SYSCLKSOURCE_PLLCLK;
  RCC_ClkInitStruct.AHBCLKDivider = RCC_SYSCLK_DIV1;
  RCC_ClkInitStruct.APB1CLKDivider = RCC_HCLK_DIV4;
  RCC_ClkInitStruct.APB2CLKDivider = RCC_HCLK_DIV2;

  if (HAL_RCC_ClockConfig(&RCC_ClkInitStruct, FLASH_LATENCY_5) != HAL_OK)
  {
    Error_Handler();
  }
}

/* USER CODE BEGIN 4 */
// TIM7中断回调函数（弱定义，用户需重写）
void HAL_TIM_PeriodElapsedCallback(TIM_HandleTypeDef *htim)
{
    if (htim->Instance == TIM7)
		{
				//编码器读取部分
				A_lmc=motorA_le();
				A_rmc=-motorA_re();
//				B_lmc=motorB_le();
//				B_rmc=motorB_re();
////			  //这里主要是一个闭环的控制
				motorA_lp(A_ls,A_lmc);
				motorA_rp(A_rs,A_rmc);
//				motorB_lp(A_ls,B_lmc);
//				motorB_rp(A_rs,B_rmc);
//				motorA_lp(0,A_lmc);
//				motorA_rp(10,A_rmc);
//				motorB_lp(10,B_lmc);
//				motorB_rp(10,B_rmc);
    }
}
//接收完成回调函数

void HAL_UART_RxCpltCallback(UART_HandleTypeDef *huart)
{
		//蓝牙的
    if (huart->Instance == UART4)
		{
//        printf("Received: %c\n", buletooth_rx);  // 打印接收的字符
        HAL_UART_Receive_IT(&huart4, &buletooth_rx, 1); // 重新启动接收
    }
		//语音的
		 if (huart->Instance == UART5)
		{
//        printf("Received: %c\n", voice_rx);  // 打印接收的字符
        HAL_UART_Receive_IT(&huart5, &voice_rx, 1); // 重新启动接收
    }
}
/* USER CODE END 4 */

void Error_Handler(void)
{
  __disable_irq();
  while (1)
  {
  }
}
